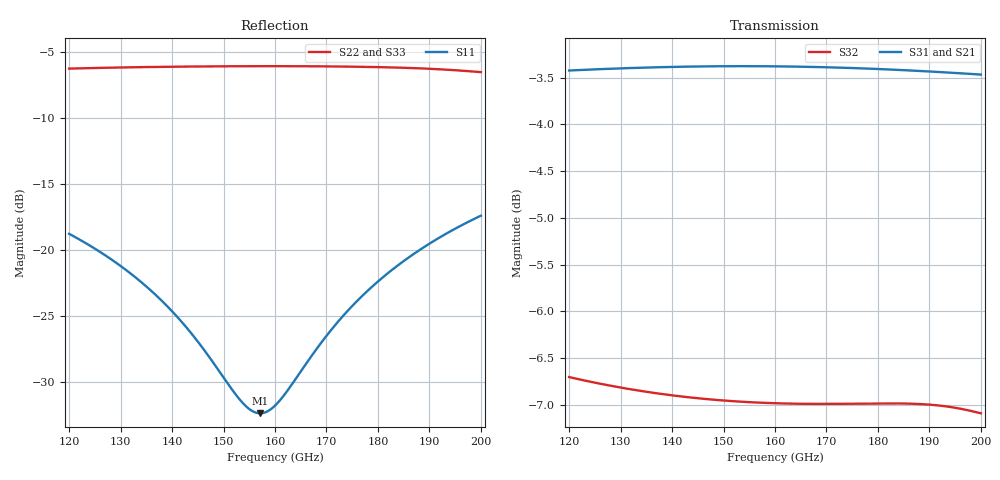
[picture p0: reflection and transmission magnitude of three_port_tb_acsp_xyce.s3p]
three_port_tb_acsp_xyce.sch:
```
v {xschem version=3.4.8RC file_version=1.3}
G {}
K {}
V {}
S {}
F {}
E {}
T {SPDX-FileCopyrightText: 2026 Simon Dorrer
SPDX-License-Identifier: Apache-2.0
} 2750 -140 0 0 0.4 0.4 {}
T {Xyce Testbench for AC S-parameter analysis - Three-Port} 870 -2330 0 0 1 1 {}
N 1420 -1540 1420 -1480 {lab=v1}
N 1420 -1420 1420 -1360 {lab=GND}
N 1340 -1540 1420 -1540 {lab=v1}
N 1420 -1540 1500 -1540 {lab=v1}
N 1780 -1500 1780 -1460 {lab=v2}
N 1700 -1500 1780 -1500 {lab=v2}
N 1780 -1400 1780 -1360 {lab=GND}
N 1780 -1500 1820 -1500 {lab=v2}
N 1980 -1400 1980 -1360 {lab=GND}
N 1980 -1580 2020 -1580 {lab=v3}
N 1980 -1580 1980 -1460 {lab=v3}
N 1700 -1580 1980 -1580 {lab=v3}
C {devices/code_shown.sym} 80 -2250 0 0 {name=XYCE
only_toplevel=true
lock=false
value="
.include ../../../netlist/xyce/three_port.cir
.include ../sim_range.cir

* User Constants
* f_min / f_max come from ../sim_range.cir (.param),
* auto-synced by snp2le to the band it fitted.
* edit that file for a standalone run.

* Xschem's ground symbol netlists node GND, which Xyce takes as ground only with this.
.PREPROCESS REPLACEGROUND TRUE

* AC S-Parameter Analysis
* Xyce writes S-parameters only as a Touchstone file, which snp2le imports.
.AC LIN 1001 \{f_min\} \{f_max\}
.LIN SPARCALC=1 FORMAT=TOUCHSTONE2 DATAFORMAT=RI FILE=../plot_simulations/data/@schname\\\\.s3p
"}
C {title-2.sym} 0 0 0 0 {name=l2 author="Simon Dorrer" rev=1.0 lock=true}
C {lab_pin.sym} 1820 -1500 0 1 {name=p3 sig_type=std_logic lab=v2}
C {devices/lab_pin.sym} 1340 -1540 0 0 {name=l19 sig_type=std_logic lab=v1
}
C {devices/gnd.sym} 1420 -1360 0 0 {name=l39 lab=GND}
C {devices/vsource.sym} 1420 -1450 0 1 {name=P1 value="port=1 z0=50"
}
C {devices/gnd.sym} 1780 -1360 0 0 {name=l3 lab=GND}
C {devices/launcher.sym} 2600 -2120 0 0 {name=h2
descr="Simulate Xyce"
tclcommand="
# Setup the default simulation commands if not already set up
# for example by already launched simulations.
set_sim_defaults

# change the simulator to be used (#3 in spice category is Xyce batch)
set sim(spice,default) 3
xschem set netlist_type spice

# run netlist and simulation
xschem netlist
simulate
"}
C {devices/vsource.sym} 1780 -1430 0 0 {name=P2 value="port=2 z0=50"
}
C {three_port.sym} 1600 -1540 0 0 {name=x1}
C {lab_pin.sym} 2020 -1580 0 1 {name=p1 sig_type=std_logic lab=v3}
C {devices/gnd.sym} 1980 -1360 0 0 {name=l1 lab=GND}
C {devices/vsource.sym} 1980 -1430 0 0 {name=P3 value="port=3 z0=50"
}
```
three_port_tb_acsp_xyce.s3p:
[Version] 2.0
# Hz S RI R 50
[Number of Ports] 3
[Reference] 50 50 50
!  Freq  ReS11  ImS11  ReS12  ImS12  ReS13  ImS13  ReS21  ImS21  ReS22  ImS22  ReS23  ImS23  ReS31  ImS31  ReS32  ImS32  ReS33  ImS33
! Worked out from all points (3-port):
!   1001 points, 120 GHz to 200 GHz, reference 50 ohm
!   strongest paths, dB at 120 GHz, 140 GHz, 160 GHz, 180 GHz, 200 GHz:
!     S31: -3.4, -3.4, -3.4, -3.4, -3.5
!     S21: -3.4, -3.4, -3.4, -3.4, -3.5
!     S32: -6.7, -6.9, -7.0, -7.0, -7.1
!   lowest |S11| = -32.4 dB at 157.1 GHz (marker M1), VSWR 1.05, Z = 52.5 - j0.00566 ohm
!   |S11| at or under -10 dB: start of sweep to end of sweep
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[Number of Frequencies] 5
[Network Data]
1.2e11  -0.0205 0.1134  0.256 -0.6235  0.2561 -0.6237
        0.256 -0.6235  0.4628 0.1553  -0.3585 -0.2916
        0.2561 -0.6237  -0.3585 -0.2916  0.4624 0.1549
1.3688e11  0.0103 0.0666  0.1444 -0.6611  0.1444 -0.6614
           0.1444 -0.6611  0.4907 0.0679  -0.4201 -0.1697
           0.1444 -0.6614  -0.4201 -0.1697  0.4902 0.0676
1.5712e11  0.024 -5.4e-05  0.00273 -0.6776  0.00266 -0.6779
           0.00273 -0.6776  0.4973 -0.0364  -0.4476 -0.0118
           0.00266 -0.6779  -0.4476 -0.0118  0.4968 -0.0367
1.7912e11  0.00724 -0.073  -0.1511 -0.6584  -0.1513 -0.6585
           -0.1511 -0.6584  0.4725 -0.1474  -0.4174 0.1609
           -0.1513 -0.6585  -0.4174 0.1609  0.472 -0.1476
2e11  -0.0371 -0.1298  -0.2874 -0.6062  -0.2876 -0.6061
      -0.2874 -0.6062  0.4097 -0.2372  -0.3244 0.3002
      -0.2876 -0.6061  -0.3244 0.3002  0.4091 -0.2373
[End]
